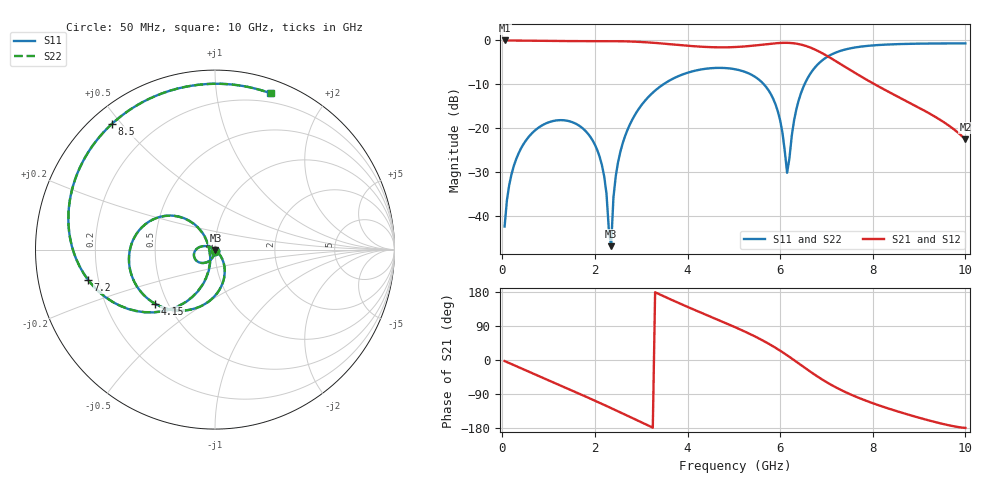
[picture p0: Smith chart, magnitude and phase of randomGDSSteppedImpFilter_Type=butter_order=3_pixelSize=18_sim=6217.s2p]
! freq	dB(S11)	phase(S11)	dB(S12)	phase(S12)
!  dB(S21)	phase(S21)	dB(S22)	phase(S22)
!S-par simulation data
#  GHz  S  DB  R 50
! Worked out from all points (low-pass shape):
!   200 points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, 50 MHz to 10 GHz, reference 50 ohm
!   highest |S21| = -0.01 dB at 50 MHz (marker M1); lowest = -22.6 dB at 10 GHz (marker M2)
!   |S21| within 3 dB of the highest: start of sweep to 6.925 GHz
!   lowest |S11| = -46.9 dB at 2.35 GHz (marker M3), VSWR 1.01, Z = 50.3 - j0.365 ohm
!   |S11| at or under -10 dB: start of sweep to 3.48 GHz; 5.647 GHz to 6.528 GHz (880.6 MHz wide, 14.5 % of centre)
!   |S22| runs from -47.1 to -0.7 dB; largest |S21 - S12| = 0
!   S11 on the Smith chart (normalised r, x): 50 MHz: 1.00, -0.02; 4.15 GHz: 0.43, -0.32; 7.2 GHz: 0.16, -0.12; 8.5 GHz: 0.06, +0.47; 10 GHz: 0.12, +1.41
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0.05  -42.44 -92.2  -0.01 -2.8  -0.01 -2.8  -42.44 -92.2
0.2  -30.47 -100.8  -0.02 -10.9  -0.02 -10.9  -30.48 -100.8
0.55  -22.26 -119.8  -0.06 -29.7  -0.06 -29.7  -22.26 -119.9
1.15  -18.27 -152.1  -0.14 -61.7  -0.14 -61.7  -18.27 -152.2
1.75  -20.17 175.8  -0.15 -93.8  -0.15 -93.8  -20.17 175.7
2.15  -28.37 154.9  -0.14 -115.7  -0.14 -115.7  -28.38 154.4
2.35  -46.92 -53.7  -0.15 -126.9  -0.15 -126.9  -47.08 -48.1
2.4  -35.83 -44.7  -0.16 -129.8  -0.16 -129.8  -35.84 -43.2
2.45  -30.95 -45.8  -0.16 -132.6  -0.16 -132.6  -30.95 -44.9
2.6  -23.46 -53.0  -0.19 -141.2  -0.19 -141.2  -23.46 -52.6
3.4  -10.59 -97.8  -0.66 173.0  -0.66 173.0  -10.59 -97.7
4.15  -6.94 -138.0  -1.33 132.3  -1.33 132.3  -6.93 -137.9
5.05  -6.62 176.2  -1.50 85.4  -1.50 85.4  -6.62 176.3
5.85  -13.31 131.7  -0.70 36.0  -0.70 36.0  -13.30 132.0
6  -18.24 126.6  -0.58 24.6  -0.58 24.6  -18.22 127.2
6.15  -30.18 177.9  -0.55 12.5  -0.55 12.5  -29.83 178.4
6.35  -15.69 -107.1  -0.73 -4.6  -0.73 -4.6  -15.68 -107.5
6.7  -6.85 -130.6  -1.84 -34.9  -1.84 -34.9  -6.85 -130.8
7.2  -2.77 -166.5  -4.71 -72.0  -4.71 -72.0  -2.77 -166.6
8.35  -0.92 135.6  -11.77 -128.5  -11.77 -128.5  -0.92 135.6
8.5  -0.86 129.4  -12.60 -134.3  -12.60 -134.3  -0.86 129.4
10  -0.68 70.5  -22.57 -179.4  -22.57 -179.4  -0.68 70.4
